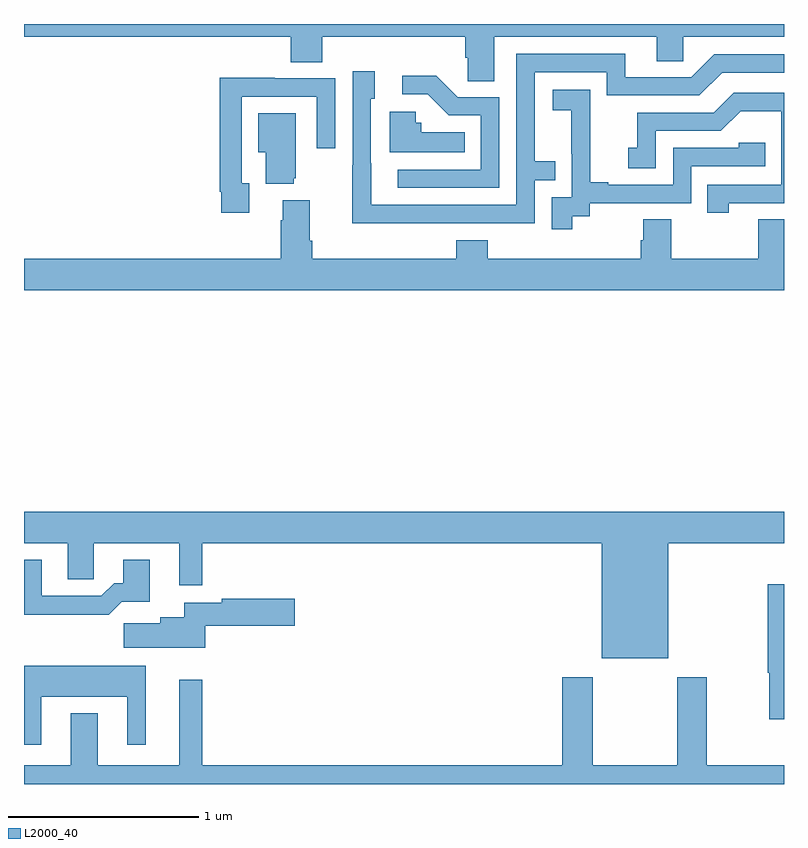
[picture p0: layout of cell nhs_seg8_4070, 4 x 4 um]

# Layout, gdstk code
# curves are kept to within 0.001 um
import gdstk
lib = gdstk.Library(unit=1e-6, precision=1e-09)
def P(c, l, *ps):  # polygons
    for p in ps: c.add(gdstk.Polygon(p, *l))
L2000_40 = (2000, 40)

nhs_seg8_4070 = lib.new_cell('nhs_seg8_4070')
P(nhs_seg8_4070, L2000_40, [(361,1117.832),(362.405,1117.832),(362.405,1117.699),(362.57,1117.699),(362.57,1117.832),(363.323,1117.832),(363.323,1117.723),(363.336,1117.723),(363.336,1117.6),(363.475,1117.6),(363.475,1117.832),(364.331,1117.832),(364.331,1117.705),(364.47,1117.705),(364.47,1117.832),(365,1117.832),(365,1117.9),(361,1117.9)],
  [(363.191,1116.852),(363.687,1116.852),(363.687,1117.077),(363.797,1117.077),(363.797,1117.178),(363.687,1117.178),(363.687,1117.647),(364.068,1117.647),(364.068,1117.524),(364.554,1117.524),(364.674,1117.644),(365,1117.644),(365,1117.74),(364.632,1117.74),(364.512,1117.62),(364.165,1117.62),(364.165,1117.743),(363.591,1117.743),(363.591,1116.948),(362.827,1116.948),(362.826,1117.506),(362.845,1117.506),(362.845,1117.651),(362.73,1117.651),(362.73,1117.157),(362.728,1117.157),(362.728,1116.851)],
  [(363.501,1117.515),(363.282,1117.515),(363.169,1117.628),(362.991,1117.628),(362.991,1117.53),(363.125,1117.53),(363.236,1117.419),(363.405,1117.419),(363.405,1117.134),(362.967,1117.134),(362.967,1117.038),(363.501,1117.038)],
  [(362.185,1117.062),(362.145,1117.062),(362.145,1117.518),(362.541,1117.518),(362.541,1117.245),(362.637,1117.245),(362.637,1117.614),(362.321,1117.614),(362.321,1117.616),(362.029,1117.616),(362.029,1117.018),(362.037,1117.018),(362.037,1116.906),(362.185,1116.906)],
  [(363.886,1116.889),(363.978,1116.889),(363.978,1116.957),(364.512,1116.957),(364.512,1117.152),(364.901,1117.152),(364.901,1117.275),(364.761,1117.275),(364.761,1117.248),(364.416,1117.248),(364.416,1117.053),(364.075,1117.053),(364.075,1117.066),(363.98,1117.066),(363.98,1117.349),(363.981,1117.349),(363.981,1117.555),(363.783,1117.555),(363.783,1117.445),(363.881,1117.445),(363.881,1117.217),(363.882,1117.217),(363.882,1116.987),(363.777,1116.987),(363.777,1116.819),(363.886,1116.819)],
  [(364.708,1116.957),(365,1116.957),(365,1117.539),(364.736,1117.539),(364.631,1117.434),(364.228,1117.434),(364.228,1117.249),(364.179,1117.249),(364.179,1117.14),(364.326,1117.14),(364.326,1117.338),(364.668,1117.338),(364.772,1117.442),(364.986,1117.442),(364.986,1117.053),(364.597,1117.053),(364.597,1116.906),(364.708,1116.906)],
  [(363.32,1117.33),(363.09,1117.33),(363.09,1117.38),(363.063,1117.38),(363.063,1117.438),(362.924,1117.438),(362.924,1117.226),(363.32,1117.226)],
  [(362.42,1117.089),(362.431,1117.089),(362.431,1117.429),(362.234,1117.429),(362.234,1117.226),(362.273,1117.226),(362.273,1117.058),(362.42,1117.058)],
  [(365,1116.872),(364.864,1116.872),(364.864,1116.664),(364.407,1116.664),(364.407,1116.872),(364.259,1116.872),(364.259,1116.762),(364.247,1116.762),(364.247,1116.664),(363.44,1116.664),(363.44,1116.763),(363.275,1116.763),(363.275,1116.664),(362.516,1116.664),(362.516,1116.76),(362.503,1116.76),(362.503,1116.973),(362.363,1116.973),(362.363,1116.866),(362.351,1116.866),(362.351,1116.664),(361,1116.664),(361,1116.5),(365,1116.5)],
  [(364.39,1115.168),(365,1115.168),(365,1115.332),(361,1115.332),(361,1115.168),(361.229,1115.168),(361.229,1114.978),(361.368,1114.978),(361.368,1115.168),(361.817,1115.168),(361.817,1114.947),(361.939,1114.947),(361.939,1115.168),(364.04,1115.168),(364.04,1114.562),(364.39,1114.562)],
  [(361.514,1114.859),(361.663,1114.859),(361.663,1115.08),(361.523,1115.08),(361.523,1114.957),(361.474,1114.957),(361.407,1114.89),(361.093,1114.89),(361.093,1115.08),(361,1115.08),(361,1114.792),(361.189,1114.792),(361.189,1114.79),(361.445,1114.79)],
  [(365,1114.952),(364.915,1114.952),(364.915,1114.486),(364.923,1114.486),(364.923,1114.242),(365,1114.242)],
  [(361.954,1114.733),(362.425,1114.733),(362.425,1114.875),(362.04,1114.875),(362.04,1114.855),(361.844,1114.855),(361.844,1114.777),(361.718,1114.777),(361.718,1114.745),(361.524,1114.745),(361.524,1114.616),(361.954,1114.616)],
  [(361.09,1114.358),(361.544,1114.358),(361.544,1114.107),(361.642,1114.107),(361.642,1114.522),(361,1114.522),(361,1114.107),(361.09,1114.107)],
  [(365,1114),(364.593,1114),(364.593,1114.462),(364.438,1114.462),(364.438,1114),(363.993,1114),(363.993,1114.462),(363.833,1114.462),(363.833,1114),(361.939,1114),(361.939,1114.45),(361.817,1114.45),(361.817,1114),(361.387,1114),(361.387,1114.273),(361.247,1114.273),(361.247,1114),(361,1114),(361,1113.9),(365,1113.9)])

lib.write_gds('nhs_seg8_4070.gds')
